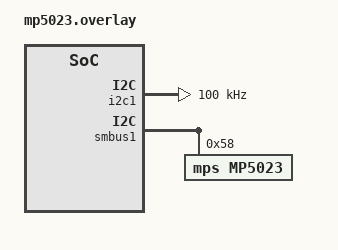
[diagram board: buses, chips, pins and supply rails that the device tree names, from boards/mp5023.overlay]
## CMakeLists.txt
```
cmake_minimum_required(VERSION 3.22)

# 添加这行来指定board overlay文件
set(DTC_OVERLAY_FILE boards/mp5023.overlay)

find_package(Zephyr REQUIRED HINTS $ENV{ZEPHYR_BASE})
project(mp5023_app)

# 添加PMBus库目录到包含路径
include_directories($ENV{ZEPHYR_BASE}/drivers/sensor/pmbus)

# 添加应用程序源文件
FILE(GLOB app_sources src/*.c)
target_sources(app PRIVATE ${app_sources})

# 确保设备树生成正确
zephyr_library_include_directories(${ZEPHYR_BASE}/include)

# 添加依赖关系，确保PMBus库在MP5023之前编译
add_dependencies(app zephyr_interface)
```

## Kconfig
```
#包含Zephyr的基础Kconfig文件
source "${ZEPHYR_BASE}/Kconfig"

#添加我们自己的I2C_LSQSH定义
config I2C_LSQSH
    bool "LSQSH I2C driver support"
    default n
    depends on I2C
    help
      Enable support for LSQSH I2C driver.
```

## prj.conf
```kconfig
# 启用MP5023驱动
CONFIG_MP5023=y
CONFIG_MP5023_DEFAULT_PAGE=0
CONFIG_MP5023_TIMEOUT_MS=100
CONFIG_MP5023_PEC_EN=y

# 启用I2C
CONFIG_I2C=y
CONFIG_SMBUS=y
#CONFIG_PMBUS=y
#CONFIG_I2C_BITRATE_FAST=y

# 启用传感器子系统
CONFIG_SENSOR=y

# 启用日志
CONFIG_LOG=y
CONFIG_LOG_DEFAULT_LEVEL=4
CONFIG_SENSOR_LOG_LEVEL_DBG=y
```

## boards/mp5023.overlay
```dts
/*
 * Copyright (c) 2018 Jan Van Winkel <jan.van_winkel@dxplore.eu>
 *
 * SPDX-License-Identifier: Apache-2.0
 */

&i2c1 {
    status = "okay";
    clock-frequency = <100000>;
};

&smbus1 {
    status = "okay";
    
    mp5023: mp5023@58 {
        compatible = "mps,mp5023";
        reg = <0x58>;
        status = "okay";
        smbus-max-frequency = <100000>;
    };
};
```

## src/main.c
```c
/*
 * Copyright (c) 2018 Jan Van Winkel <jan.van_winkel@dxplore.eu>
 *
 * SPDX-License-Identifier: Apache-2.0
 */

#include <zephyr/device.h>
#include <zephyr/devicetree.h>
#include <zephyr/drivers/sensor.h>
#include <zephyr/kernel.h>
#include <zephyr/logging/log.h>

LOG_MODULE_REGISTER(mp5023_app, LOG_LEVEL_INF);

// 定义驱动兼容性字符串
#define DT_DRV_COMPAT monolithic_power_mp5023

// 定义设备标签名称
#define MP5023_DEVICE_NAME "mp5023"

void main(void) {
  const struct device *dev = device_get_binding(MP5023_DEVICE_NAME);
  struct sensor_value voltage, current, temp;
  uint8_t retry = 0;

  // mp5023 sensor API
  /* const struct sensor_driver_api *mp5023_api =
      (const struct sensor_driver_api *)dev->api; */
  int ret;

  if (!device_is_ready(dev)) {
    LOG_ERR("Device %s is not ready", dev->name);
    return;
  }

  LOG_INF("MP5023 sensor example started");

  while (retry < 100) {
    /* Fetch all sensor data - 5023 specific sensor driver */
    // ret = mp5023_api->sample_fetch(dev, SENSOR_CHAN_ALL);
    ret = sensor_sample_fetch(dev); /* general sensor api */
    if (ret < 0) {
      LOG_ERR("Failed to fetch samples: %d", ret);
      continue;
    }

    /* Get voltage, current and temperature data */
    // ret = mp5023_api->channel_get(dev, SENSOR_CHAN_VOLTAGE, &voltage);
    ret = sensor_channel_get(dev, SENSOR_CHAN_VOLTAGE, &voltage);
    if (ret < 0) {
      LOG_ERR("Failed to get voltage: %d", ret);
    }

    // ret = mp5023_api->channel_get(dev, SENSOR_CHAN_CURRENT, &current);
    ret = sensor_channel_get(dev, SENSOR_CHAN_CURRENT, &current);
    if (ret < 0) {
      LOG_ERR("Failed to get current: %d", ret);
    }

    // ret = mp5023_api->channel_get(dev, SENSOR_CHAN_GAUGE_TEMP, &temp);
    ret = sensor_channel_get(dev, SENSOR_CHAN_GAUGE_TEMP, &temp);
    if (ret < 0) {
      LOG_ERR("Failed to get temperature: %d", ret);
    }

    LOG_INF("Voltage: %d.%06d V", voltage.val1, voltage.val2);
    LOG_INF("Current: %d.%06d A", current.val1, current.val2);
    LOG_INF("Temperature: %d.%06d °C", temp.val1, temp.val2);

    k_sleep(K_SECONDS(1));
    retry++;
  }
}
```
